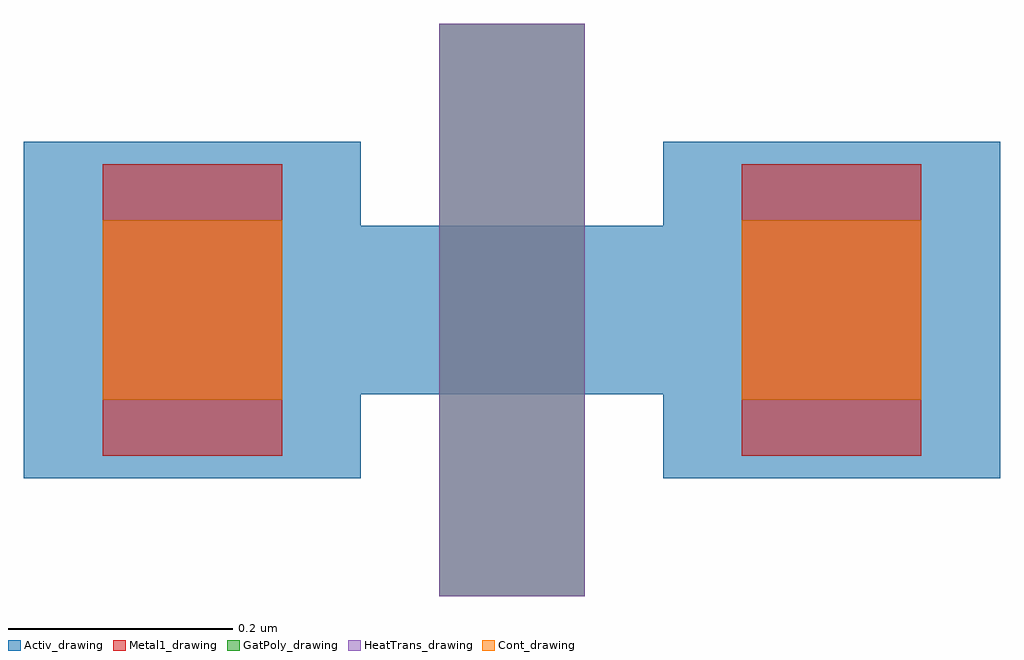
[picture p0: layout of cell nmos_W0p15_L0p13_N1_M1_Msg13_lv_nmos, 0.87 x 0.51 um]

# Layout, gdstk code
import gdstk
lib = gdstk.Library(unit=1e-6, precision=1e-09)
def R(c, l, rs):  # rectangles x0, y0, x1, y1
    for r in rs: c.add(gdstk.rectangle(r[:2], r[2:], *l))
Activ_drawing = (1, 0)
GatPoly_drawing = (5, 0)
Cont_drawing = (6, 0)
Metal1_drawing = (8, 0)
HeatTrans_drawing = (51, 0)

nmos_w0p15_l0p13_n1_m1_m = lib.new_cell('nmos_W0p15_L0p13_N1_M1_Msg13_lv_nmos')
R(nmos_w0p15_l0p13_n1_m1_m, Activ_drawing, [(0,0,0.3,0.3), (0.57,0,0.87,0.3), (0,0.075,0.87,0.225)])
R(nmos_w0p15_l0p13_n1_m1_m, GatPoly_drawing, [(0.37,-0.105,0.5,0.405), (0.37,-0.105,0.5,0.405)])
R(nmos_w0p15_l0p13_n1_m1_m, Cont_drawing, [(0.07,0.07,0.23,0.23), (0.64,0.07,0.8,0.23)])
R(nmos_w0p15_l0p13_n1_m1_m, Metal1_drawing, [(0.07,0.02,0.23,0.28), (0.07,0.02,0.23,0.28), (0.64,0.02,0.8,0.28), (0.64,0.02,0.8,0.28)])
R(nmos_w0p15_l0p13_n1_m1_m, HeatTrans_drawing, [(0.37,-0.105,0.5,0.405)])

lib.write_gds('nmos_W0p15_L0p13_N1_M1_Msg13_lv_nmos.gds')
